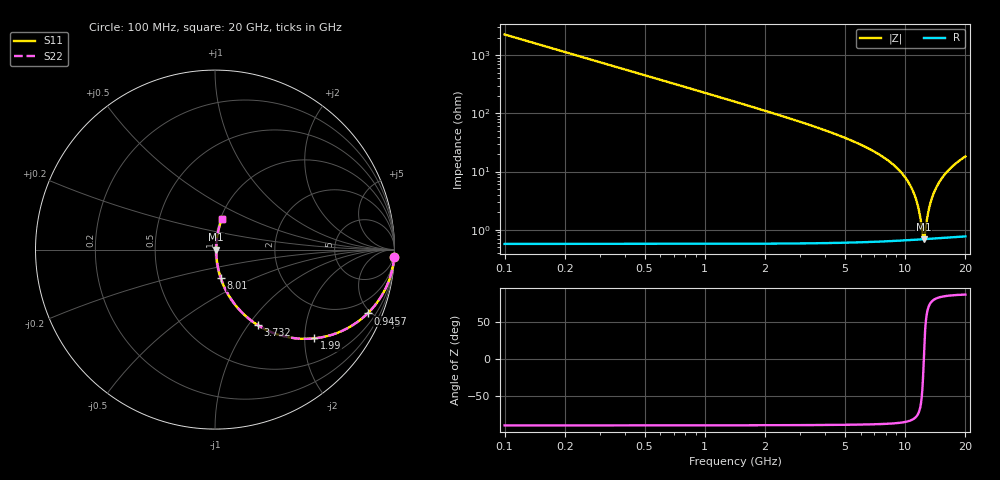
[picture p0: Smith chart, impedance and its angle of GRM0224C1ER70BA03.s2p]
!Murata Part Number: GRM0224C1ER70BA03
!These Parameters are Measured in Series Mode Connection
!Data Generated on Mar 30, 2021
!  o--ll--o
!Port1  Port2
!  o------o
!Operation Temp=25[degC], DC Bias Voltage=0[V]
!Freq. Start=100[MHz] Stop=20[GHz] 401[Steps]
# Hz S RI R 50
!Freq.(Hz) S11(Real) S11(Imag) S21(Real) S21(Imag) S12(Real) S12(Imag) S22(Real) S22(Imag)
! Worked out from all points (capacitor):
!   401 points, 100 MHz to 20 GHz, reference 50 ohm
!   read as one part in series: C = 700 fF near 199.5 MHz
!   lowest |Z| = 686 mohm at 12.39 GHz (marker M1)
!   series resonance near 12.4 GHz, so ESL is about 240 pH
!   S11 on the Smith chart (normalised r, x): 100 MHz: 1, -45; 945.8 MHz: 1.01, -4.78; 1.99 GHz: 1.01, -2.23; 3.732 GHz: 1.01, -1.11; 8.01 GHz: 1.01, -0.33; 20 GHz: 1.02, +0.36
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1e8  0.9981 -0.0439  0.00194 0.0439  0.00194 0.0439  0.9981 -0.0439
2.99e8  0.9829 -0.1293  0.0171 0.1293  0.0171 0.1293  0.9829 -0.1293
4.4825e8  0.9623 -0.1899  0.0377 0.1899  0.0377 0.1899  0.9623 -0.1899
9.4575e8  0.8504 -0.3555  0.1496 0.3555  0.1496 0.3555  0.8504 -0.3555
1.9905e9  0.5529 -0.4946  0.4471 0.4946  0.4471 0.4946  0.5529 -0.4946
3.43325e9  0.2739 -0.4412  0.7261 0.4412  0.7261 0.4412  0.2739 -0.4412
3.73175e9  0.2371 -0.4201  0.7629 0.4201  0.7629 0.4201  0.2371 -0.4201
6.7665e9  0.0578 -0.2206  0.9422 0.2206  0.9422 0.2206  0.0578 -0.2206
8.01025e9  0.0323 -0.1587  0.9677 0.1587  0.9677 0.1587  0.0323 -0.1587
1.005e10  0.0124 -0.0759  0.9876 0.0759  0.9876 0.0759  0.0124 -0.0759
1.079625e10  0.00913 -0.0499  0.9909 0.0499  0.9909 0.0499  0.00913 -0.0499
1.139325e10  0.00762 -0.0305  0.9924 0.0305  0.9924 0.0305  0.00762 -0.0305
1.179125e10  0.00707 -0.018  0.9929 0.018  0.9929 0.018  0.00707 -0.018
1.2239e10  0.00681 -0.00459  0.9932 0.00459  0.9932 0.00459  0.00681 -0.00459
1.238825e10  0.00681 -0.00022  0.9932 0.00022  0.9932 0.00022  0.00681 -0.00022
1.25375e10  0.00685 0.0041  0.9932 -0.0041  0.9932 -0.0041  0.00685 0.0041
1.298525e10  0.00717 0.0168  0.9928 -0.0168  0.9928 -0.0168  0.00717 0.0168
1.338325e10  0.0077 0.0276  0.9923 -0.0276  0.9923 -0.0276  0.0077 0.0276
1.39305e10  0.00878 0.0421  0.9912 -0.0421  0.9912 -0.0421  0.00878 0.0421
1.467675e10  0.0108 0.0609  0.9892 -0.0609  0.9892 -0.0609  0.0108 0.0609
1.67165e10  0.0192 0.1079  0.9808 -0.1079  0.9808 -0.1079  0.0192 0.1079
2e10  0.0387 0.173  0.9613 -0.173  0.9613 -0.173  0.0387 0.173
